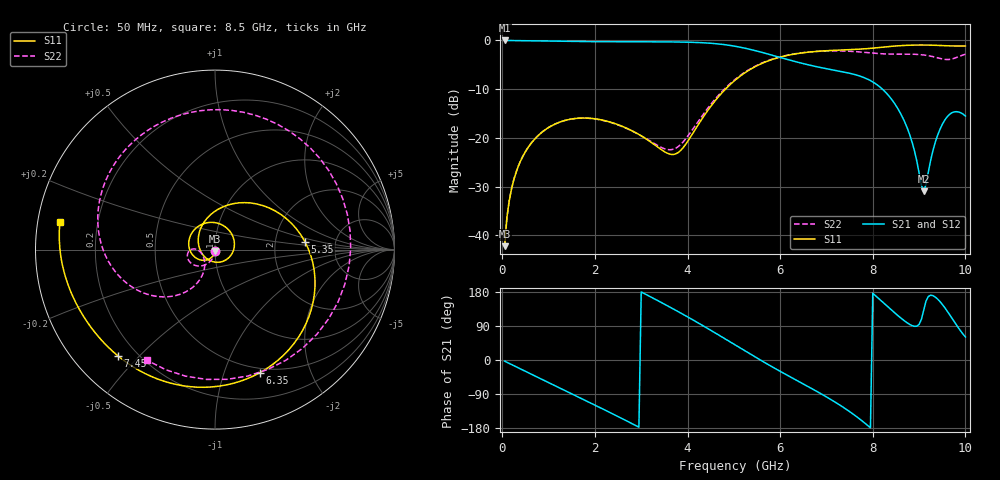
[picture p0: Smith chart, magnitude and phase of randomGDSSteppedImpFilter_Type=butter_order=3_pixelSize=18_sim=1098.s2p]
! freq	dB(S11)	phase(S11)	dB(S12)	phase(S12)
!  dB(S21)	phase(S21)	dB(S22)	phase(S22)
!S-par simulation data
#  GHz  S  DB  R 50
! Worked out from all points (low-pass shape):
!   200 points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, 50 MHz to 10 GHz, reference 50 ohm
!   highest |S21| = -0.01 dB at 50 MHz (marker M1); lowest = -30.9 dB at 9.1 GHz (marker M2)
!   |S21| within 3 dB of the highest: start of sweep to 5.818 GHz
!   lowest |S11| = -42.2 dB at 50 MHz (marker M3), VSWR 1.02, Z = 50 - j0.773 ohm
!   |S11| at or under -10 dB: start of sweep to 4.819 GHz
!   |S22| runs from -42.2 to -2.1 dB; largest |S21 - S12| = 0
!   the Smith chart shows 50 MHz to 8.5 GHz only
!   S11 on the Smith chart (normalised r, x): 50 MHz: 1.00, -0.02; 5.35 GHz: 2.98, +0.35; 6.35 GHz: 0.45, -1.33; 7.45 GHz: 0.13, -0.43; 8.5 GHz: 0.07, +0.09
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0.05  -42.23 -91.7  -0.01 -3.0  -0.01 -3.0  -42.21 -90.0
0.2  -30.44 -104.6  -0.02 -12.0  -0.02 -12.0  -30.41 -98.6
0.5  -22.83 -127.8  -0.06 -29.9  -0.06 -29.9  -22.80 -112.7
1.15  -17.12 -177.9  -0.17 -68.4  -0.17 -68.4  -17.11 -140.4
1.75  -15.92 132.7  -0.24 -104.0  -0.24 -104.0  -15.94 -162.1
2.65  -17.87 44.2  -0.26 -158.5  -0.26 -158.5  -17.92 178.7
3.4  -22.19 -59.2  -0.29 154.0  -0.29 154.0  -21.80 -169.3
4.25  -17.01 125.0  -0.44 96.5  -0.44 96.5  -16.34 -116.6
5.05  -7.98 32.6  -1.24 38.0  -1.24 38.0  -7.82 -139.8
5.35  -5.97 5.1  -1.83 15.9  -1.83 15.9  -5.86 -156.1
6.35  -2.73 -70.1  -4.40 -53.3  -4.40 -53.3  -2.70 141.1
6.7  -2.32 -91.6  -5.21 -76.6  -5.21 -76.6  -2.32 116.1
7.45  -1.92 -132.6  -6.63 -131.9  -6.63 -131.9  -2.20 46.8
7.9  -1.67 -155.8  -8.00 -173.7  -8.00 -173.7  -2.51 -14.8
8.35  -1.26 179.2  -11.42 137.8  -11.42 137.8  -2.80 -93.8
8.5  -1.13 170.0  -13.37 121.7  -13.37 121.7  -2.81 -121.4
8.8  -0.98 150.5  -19.42 93.7  -19.42 93.7  -2.82 -175.4
9.1  -0.94 129.8  -30.93 131.7  -30.93 131.7  -2.99 129.2
9.35  -0.99 112.0  -20.90 166.1  -20.90 166.1  -3.45 73.2
9.6  -1.10 94.0  -15.75 130.3  -15.75 130.3  -3.93 -3.1
9.8  -1.15 79.7  -14.62 93.6  -14.62 93.6  -3.53 -72.2
10  -1.14 64.2  -15.52 60.9  -15.52 60.9  -2.83 -128.4
